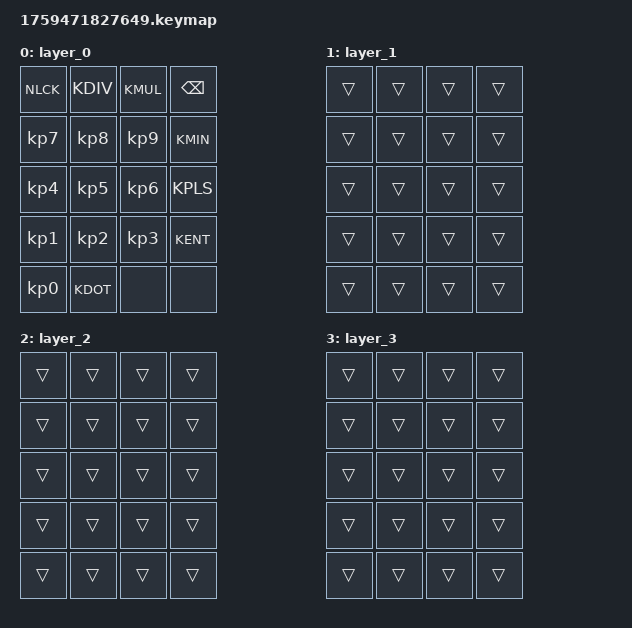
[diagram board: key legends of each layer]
#include <behaviors.dtsi>
#include <dt-bindings/zmk/keys.h>
#include <dt-bindings/zmk/matrix_transform.h>
#include <input/processors.dtsi>
#include <dt-bindings/zmk/input_transform.h>
#include "layouts.dtsi"

/ {
    chosen {
        zmk,physical-layout = &physical_layout0;
    };

    default_transform: keymap_transform_0 {
        compatible = "zmk,matrix-transform";
        columns = <4>;
        rows = <5>;
        map = <
            RC(0,0) RC(0,1) RC(0,2) RC(0,3)
			RC(1,0) RC(1,1) RC(1,2) RC(1,3)
			RC(2,0) RC(2,1) RC(2,2) RC(2,3)
			RC(3,0) RC(3,1) RC(3,2) RC(3,3)
			RC(4,0) RC(4,1) RC(4,2) RC(4,3)
        >;
    };

    kscan0: kscan {
        compatible = "zmk,kscan-gpio-matrix";
        wakeup-source;
        diode-direction = "col2row";
        row-gpios
            = <&akdk_d 9 (GPIO_ACTIVE_HIGH | GPIO_PULL_DOWN)>
			,<&akdk_d 8 (GPIO_ACTIVE_HIGH | GPIO_PULL_DOWN)>
			,<&akdk_d 7 (GPIO_ACTIVE_HIGH | GPIO_PULL_DOWN)>
			,<&akdk_d 6 (GPIO_ACTIVE_HIGH | GPIO_PULL_DOWN)>
			,<&akdk_d 5 (GPIO_ACTIVE_HIGH | GPIO_PULL_DOWN)>
            ;
        col-gpios
            = <&akdk_d 13 GPIO_ACTIVE_HIGH>
			,<&akdk_d 12 GPIO_ACTIVE_HIGH>
			,<&akdk_d 11 GPIO_ACTIVE_HIGH>
			,<&akdk_d 10 GPIO_ACTIVE_HIGH>
            ;
    };

    keymap {
        compatible = "zmk,keymap";
        layer_0 {
            bindings = <
                &kp NLCK      &kp KDIV      &kp KMUL        &kp BSPC
                &kp KP_N7     &kp KP_N8     &kp KP_N9       &kp KMIN
                &kp KP_N4     &kp KP_N5     &kp KP_N6       &kp KPLS
                &kp KP_N1     &kp KP_N2     &kp KP_N3       &kp KENT
                &kp KP_N0     &kp KDOT      &none           &none
            >;
        };
        layer_1 { bindings = <&trans &trans &trans &trans &trans &trans &trans &trans &trans &trans &trans &trans &trans &trans &trans &trans &trans &trans &trans &trans>; };
        layer_2 { bindings = <&trans &trans &trans &trans &trans &trans &trans &trans &trans &trans &trans &trans &trans &trans &trans &trans &trans &trans &trans &trans>; };
        layer_3 { bindings = <&trans &trans &trans &trans &trans &trans &trans &trans &trans &trans &trans &trans &trans &trans &trans &trans &trans &trans &trans &trans>; };
    };
};

&physical_layout0 {
    kscan = <&kscan0>;
    transform = <&default_transform>;
};

&uart0 {
    status = "disabled";
};
